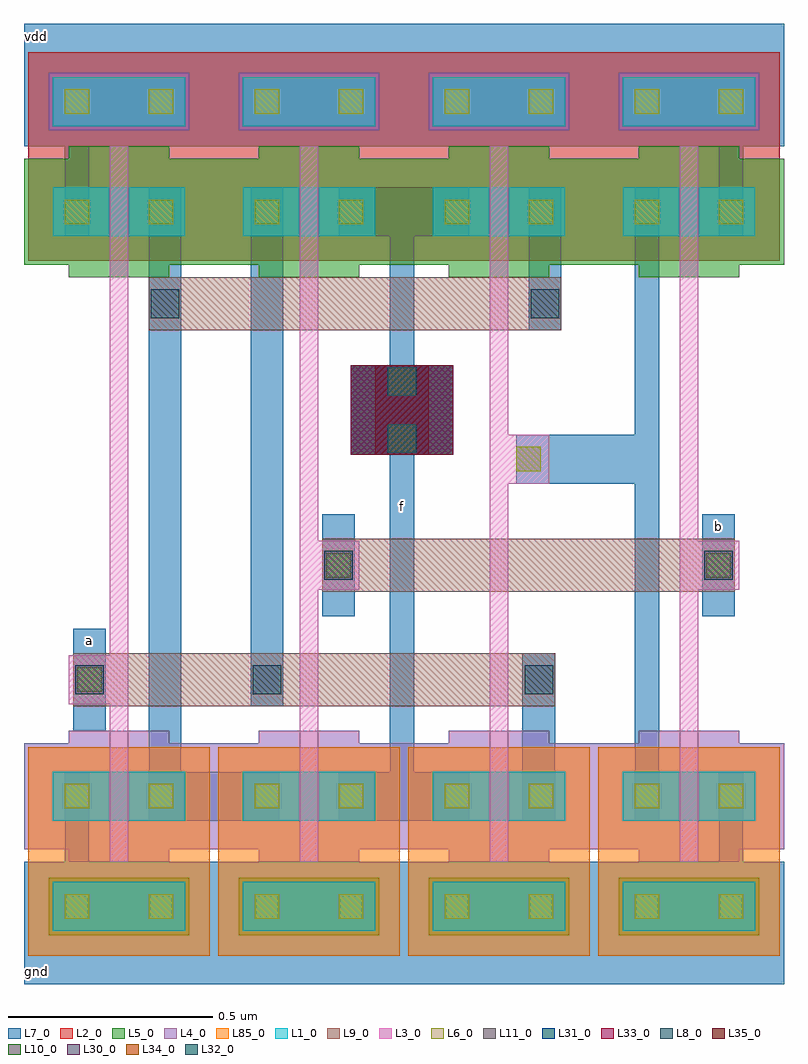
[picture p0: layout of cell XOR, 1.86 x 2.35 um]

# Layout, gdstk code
from math import pi, radians
import gdstk
lib = gdstk.Library(unit=1e-6, precision=5e-10)
def R(c, l, rs):  # rectangles x0, y0, x1, y1
    for r in rs: c.add(gdstk.rectangle(r[:2], r[2:], *l))
def A(c, l, x, y, w, h, nx, ny, dx, dy):  # array of equal rectangles
    R(c, l, [(x+i*dx, y+j*dy, x+i*dx+w, y+j*dy+h) for i in range(nx) for j in range(ny)])
L1_0 = (1, 0)
L2_0 = (2, 0)
L3_0 = (3, 0)
L4_0 = (4, 0)
L5_0 = (5, 0)
L6_0 = (6, 0)
L7_0 = (7, 0)
L8_0 = (8, 0)
L9_0 = (9, 0)
L10_0 = (10, 0)
L11_0 = (11, 0)
L30_0 = (30, 0)
L31_0 = (31, 0)
L32_0 = (32, 0)
L33_0 = (33, 0)
L34_0 = (34, 0)
L35_0 = (35, 0)
L85_0 = (85, 0)

pmos1v_cdns_765123987260 = lib.new_cell('pmos1v_CDNS_765123987260')
R(pmos1v_cdns_765123987260, L1_0, [(-0.14,0,0,0.12), (0,0,0.045,0.12), (0.045,0,0.185,0.12), (-0.14,0.27,0.185,0.39)])
R(pmos1v_cdns_765123987260, L2_0, [(-0.2,-0.06,0.245,0.45)])
R(pmos1v_cdns_765123987260, L3_0, [(0,-0.1,0.045,-0.05), (0,-0.05,0.045,0), (0,0,0.045,0.12), (0,0.12,0.045,0.17), (0,0.17,0.045,0.22)])
R(pmos1v_cdns_765123987260, L4_0, [(-0.15,0.26,0.195,0.4)])
R(pmos1v_cdns_765123987260, L5_0, [(-0.1,-0.1,0.145,0.22), (-0.21,-0.07,0.255,0.19)])
R(pmos1v_cdns_765123987260, L6_0, [(-0.11,0.03,-0.05,0.09), (0.095,0.03,0.155,0.09), (-0.11,0.3,-0.05,0.36), (0.095,0.3,0.155,0.36)])
R(pmos1v_cdns_765123987260, L7_0, [(-0.11,0,-0.05,0.12), (0.095,0,0.155,0.12), (-0.14,0.3,0.185,0.36)])

nmos1v_cdns_765123987261 = lib.new_cell('nmos1v_CDNS_765123987261')
R(nmos1v_cdns_765123987261, L1_0, [(-0.14,-0.27,0.185,-0.15), (-0.14,0,0,0.12), (0,0,0.045,0.12), (0.045,0,0.185,0.12)])
R(nmos1v_cdns_765123987261, L3_0, [(0,-0.1,0.045,-0.05), (0,-0.05,0.045,0), (0,0,0.045,0.12), (0,0.12,0.045,0.17), (0,0.17,0.045,0.22)])
R(nmos1v_cdns_765123987261, L4_0, [(-0.1,-0.1,0.145,0.22), (-0.21,-0.07,0.255,0.19)])
R(nmos1v_cdns_765123987261, L5_0, [(-0.15,-0.28,0.195,-0.14)])
R(nmos1v_cdns_765123987261, L6_0, [(-0.11,-0.24,-0.05,-0.18), (0.095,-0.24,0.155,-0.18), (-0.11,0.03,-0.05,0.09), (0.095,0.03,0.155,0.09)])
R(nmos1v_cdns_765123987261, L7_0, [(-0.14,-0.24,0.185,-0.18), (-0.11,0,-0.05,0.12), (0.095,0,0.155,0.12)])
R(nmos1v_cdns_765123987261, L85_0, [(-0.2,-0.33,0.245,0.18)])

m1_po_cdns_765123987260 = lib.new_cell('M1_PO_CDNS_765123987260')
R(m1_po_cdns_765123987260, L3_0, [(-0.05,-0.06,0.05,0.06)])
R(m1_po_cdns_765123987260, L6_0, [(-0.03,-0.03,0.03,0.03)])
R(m1_po_cdns_765123987260, L7_0, [(-0.04,-0.125,0.04,0.125)])

m1_po_cdns_765123987261 = lib.new_cell('M1_PO_CDNS_765123987261')
R(m1_po_cdns_765123987261, L3_0, [(-0.05,-0.06,0.05,0.06)])
R(m1_po_cdns_765123987261, L6_0, [(-0.03,-0.03,0.03,0.03)])
R(m1_po_cdns_765123987261, L7_0, [(-0.03,-0.06,0.03,0.06)])

m2_m1_cdns_765123987262 = lib.new_cell('M2_M1_CDNS_765123987262')
R(m2_m1_cdns_765123987262, L7_0, [(-0.04,-0.125,0.04,0.125)])
R(m2_m1_cdns_765123987262, L8_0, [(-0.035,-0.035,0.035,0.035)])
R(m2_m1_cdns_765123987262, L9_0, [(-0.04,-0.065,0.04,0.065)])

m2_m1_cdns_765123987263 = lib.new_cell('M2_M1_CDNS_765123987263')
R(m2_m1_cdns_765123987263, L7_0, [(-0.04,-0.065,0.04,0.065)])
R(m2_m1_cdns_765123987263, L8_0, [(-0.035,-0.035,0.035,0.035)])
R(m2_m1_cdns_765123987263, L9_0, [(-0.04,-0.065,0.04,0.065)])

m3_m2_cdns_765123987264 = lib.new_cell('M3_M2_CDNS_765123987264')
R(m3_m2_cdns_765123987264, L9_0, [(-0.11,-0.125,0.11,0.125)])
R(m3_m2_cdns_765123987264, L10_0, [(-0.105,-0.035,-0.035,0.035), (0.035,-0.035,0.105,0.035)])
R(m3_m2_cdns_765123987264, L11_0, [(-0.11,-0.125,0.11,0.125)])

m2_m1_cdns_765123987265 = lib.new_cell('M2_M1_CDNS_765123987265')
R(m2_m1_cdns_765123987265, L7_0, [(-0.11,-0.125,0.11,0.125)])
R(m2_m1_cdns_765123987265, L8_0, [(-0.105,-0.035,-0.035,0.035), (0.035,-0.035,0.105,0.035)])
R(m2_m1_cdns_765123987265, L9_0, [(-0.11,-0.125,0.11,0.125)])

m4_m3_cdns_765123987266 = lib.new_cell('M4_M3_CDNS_765123987266')
R(m4_m3_cdns_765123987266, L11_0, [(-0.11,-0.125,0.11,0.125)])
R(m4_m3_cdns_765123987266, L30_0, [(-0.105,-0.035,-0.035,0.035), (0.035,-0.035,0.105,0.035)])
R(m4_m3_cdns_765123987266, L31_0, [(-0.11,-0.125,0.11,0.125)])

m6_m5_cdns_765123987267 = lib.new_cell('M6_M5_CDNS_765123987267')
R(m6_m5_cdns_765123987267, L33_0, [(-0.11,-0.125,0.11,0.125)])
R(m6_m5_cdns_765123987267, L34_0, [(-0.105,-0.035,-0.035,0.035), (0.035,-0.035,0.105,0.035)])
R(m6_m5_cdns_765123987267, L35_0, [(-0.11,-0.065,0.11,0.065)])

m5_m4_cdns_765123987268 = lib.new_cell('M5_M4_CDNS_765123987268')
R(m5_m4_cdns_765123987268, L31_0, [(-0.11,-0.125,0.11,0.125)])
R(m5_m4_cdns_765123987268, L32_0, [(-0.105,-0.035,-0.035,0.035), (0.035,-0.035,0.105,0.035)])
R(m5_m4_cdns_765123987268, L33_0, [(-0.11,-0.125,0.11,0.125)])

xor = lib.new_cell('XOR')
R(xor, L2_0, [(0.01,1.77,1.85,2.28)])
A(xor, L3_0, 0.21, 0.62, 0.045, 1.11, 4, 1, 0.465, 0)
R(xor, L7_0, [(0,0,1.86,0.3), (0,0,0.06,0.06), (0.1,0.3,0.16,0.4), (1.7,0.3,1.76,0.4), (0.365,0.4,0.565,0.52), (0.83,0.4,1.03,0.52), (1.22,0.4,1.3,0.81), (1.495,0.4,1.555,1.95), (0.305,0.52,0.385,1.95), (0.895,0.52,0.955,1.83), (0.555,0.68,0.635,1.95), (0.13,0.81,0.19,0.87), (1.67,1.09,1.73,1.15), (0.895,1.14,0.955,1.2), (1.205,1.225,1.495,1.345), (1.235,1.6,1.315,1.95), (0.83,1.83,1.03,1.95), (0.1,1.95,0.16,2.05), (1.7,1.95,1.76,2.05), (0,2.05,1.86,2.35), (0,2.29,0.06,2.35)])
R(xor, L9_0, [(0.12,0.68,1.3,0.81), (0.73,0.96,1.74,1.09), (0.305,1.6,1.315,1.73)])
xor.add(gdstk.Reference(pmos1v_cdns_765123987260, (1.65,1.83), rotation=pi, x_reflection=True))
xor.add(gdstk.Reference(pmos1v_cdns_765123987260, (0.21,1.83)))
xor.add(gdstk.Reference(pmos1v_cdns_765123987260, (0.675,1.83)))
xor.add(gdstk.Reference(pmos1v_cdns_765123987260, (1.185,1.83), rotation=pi, x_reflection=True))
xor.add(gdstk.Reference(nmos1v_cdns_765123987261, (1.65,0.4), rotation=pi, x_reflection=True))
xor.add(gdstk.Reference(nmos1v_cdns_765123987261, (0.21,0.4)))
xor.add(gdstk.Reference(nmos1v_cdns_765123987261, (1.14,0.4)))
xor.add(gdstk.Reference(nmos1v_cdns_765123987261, (0.72,0.4), rotation=pi, x_reflection=True))
xor.add(gdstk.Reference(m1_po_cdns_765123987260, (0.77,1.025)))
xor.add(gdstk.Reference(m1_po_cdns_765123987260, (1.7,1.025)))
xor.add(gdstk.Reference(m1_po_cdns_765123987260, (0.16,0.745)))
xor.add(gdstk.Reference(m1_po_cdns_765123987261, (1.235,1.285)))
xor.add(gdstk.Reference(m2_m1_cdns_765123987262, (0.16,0.745)))
xor.add(gdstk.Reference(m2_m1_cdns_765123987262, (0.77,1.025)))
xor.add(gdstk.Reference(m2_m1_cdns_765123987262, (1.7,1.025)))
xor.add(gdstk.Reference(m2_m1_cdns_765123987263, (1.26,0.745)))
xor.add(gdstk.Reference(m2_m1_cdns_765123987263, (1.275,1.665)))
xor.add(gdstk.Reference(m2_m1_cdns_765123987263, (0.345,1.665)))
xor.add(gdstk.Reference(m2_m1_cdns_765123987263, (0.595,0.745)))
xor.add(gdstk.Reference(m3_m2_cdns_765123987264, (0.925,1.405), rotation=3*pi/2))
xor.add(gdstk.Reference(m2_m1_cdns_765123987265, (0.925,1.405), rotation=3*pi/2))
xor.add(gdstk.Reference(m4_m3_cdns_765123987266, (0.925,1.405), rotation=3*pi/2))
xor.add(gdstk.Reference(m6_m5_cdns_765123987267, (0.925,1.405), rotation=3*pi/2))
xor.add(gdstk.Reference(m5_m4_cdns_765123987268, (0.925,1.405), rotation=3*pi/2))
xor.add(gdstk.Label('f', (0.925,1.17), layer=7, texttype=3))
xor.add(gdstk.Label('b', (1.7,1.12), layer=7, texttype=3))
xor.add(gdstk.Label('a', (0.16,0.84), layer=7, texttype=3))
xor.add(gdstk.Label('gnd', (0.03,0.03), layer=7, texttype=3))
xor.add(gdstk.Label('vdd', (0.03,2.32), layer=7, texttype=3))

lib.write_gds('XOR.gds')
